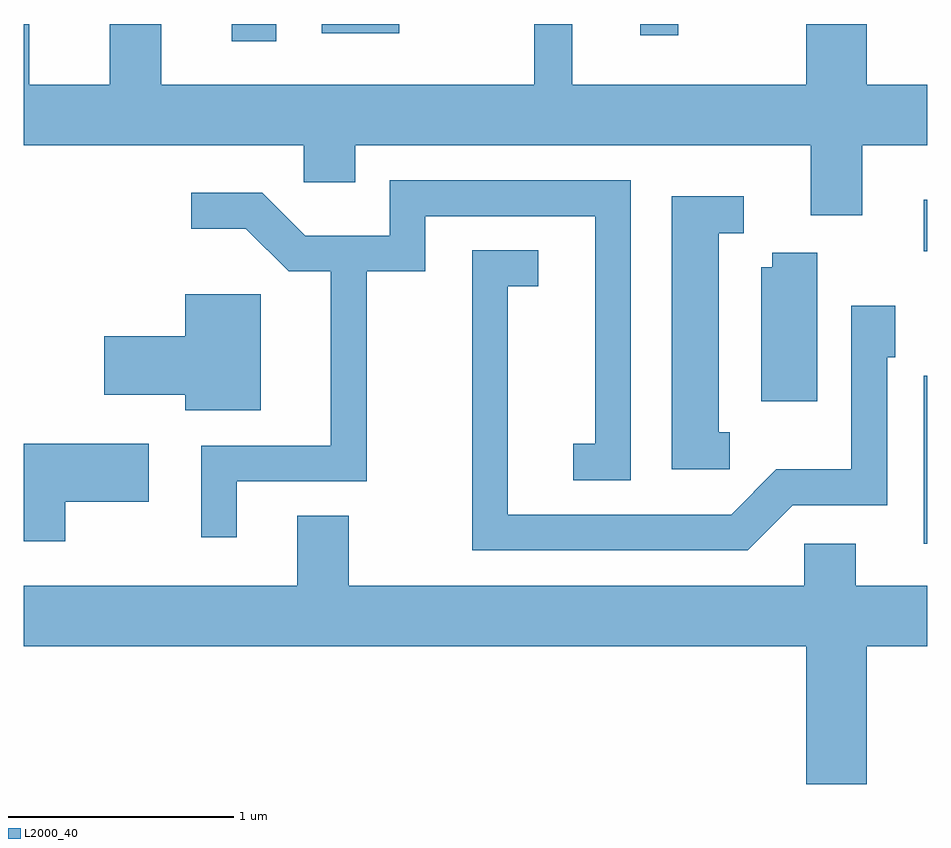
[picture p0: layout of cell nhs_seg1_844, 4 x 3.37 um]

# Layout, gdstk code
import gdstk
lib = gdstk.Library(unit=1e-6, precision=1e-09)
def R(c, l, rs):  # rectangles x0, y0, x1, y1
    for r in rs: c.add(gdstk.rectangle(r[:2], r[2:], *l))
def P(c, l, *ps):  # polygons
    for p in ps: c.add(gdstk.Polygon(p, *l))
L2000_40 = (2000, 40)

nhs_seg1_844 = lib.new_cell('nhs_seg1_844')
R(nhs_seg1_844, L2000_40, [(215.596,853.411,215.611,854.154), (215.596,854.706,215.611,854.934), (212.531,855.636,212.729,855.712), (214.341,855.663,214.509,855.712), (212.931,855.671,213.274,855.712)])
P(nhs_seg1_844, L2000_40, [(215.324,855.176),(215.611,855.176),(215.611,855.444),(215.344,855.444),(215.344,855.712),(215.076,855.712),(215.076,855.444),(214.039,855.444),(214.039,855.712),(213.871,855.712),(213.871,855.444),(212.219,855.444),(212.219,855.712),(211.991,855.712),(211.991,855.444),(211.634,855.444),(211.634,855.712),(211.611,855.712),(211.611,855.176),(212.851,855.176),(212.851,855.011),(213.079,855.011),(213.079,855.176),(215.096,855.176),(215.096,854.866),(215.324,854.866)],
  [(212.554,853.686),(213.129,853.686),(213.129,854.616),(213.389,854.616),(213.389,854.861),(214.141,854.861),(214.141,853.854),(214.043,853.854),(214.043,853.691),(214.299,853.691),(214.299,855.019),(213.231,855.019),(213.231,854.774),(212.857,854.774),(212.667,854.964),(212.353,854.964),(212.353,854.806),(212.594,854.806),(212.784,854.616),(212.971,854.616),(212.971,853.844),(212.396,853.844),(212.396,853.438),(212.554,853.438)],
  [(214.738,853.904),(214.689,853.904),(214.689,854.786),(214.798,854.786),(214.798,854.949),(214.481,854.949),(214.481,853.741),(214.738,853.741)],
  [(215.017,853.581),(215.434,853.581),(215.434,854.236),(215.469,854.236),(215.469,854.464),(215.276,854.464),(215.276,853.739),(214.944,853.739),(214.744,853.539),(213.754,853.539),(213.754,854.551),(213.888,854.551),(213.888,854.709),(213.596,854.709),(213.596,853.381),(214.817,853.381)],
  [(215.124,854.699),(214.926,854.699),(214.926,854.634),(214.876,854.634),(214.876,854.041),(215.124,854.041)],
  [(212.659,854.514),(212.326,854.514),(212.326,854.329),(211.966,854.329),(211.966,854.071),(212.326,854.071),(212.326,854.001),(212.659,854.001)],
  [(211.794,853.596),(212.164,853.596),(212.164,853.854),(211.611,853.854),(211.611,853.421),(211.794,853.421)],
  [(215.344,852.956),(215.611,852.956),(215.611,853.224),(215.294,853.224),(215.294,853.409),(215.066,853.409),(215.066,853.224),(213.049,853.224),(213.049,853.534),(212.821,853.534),(212.821,853.224),(211.611,853.224),(211.611,852.956),(215.076,852.956),(215.076,852.346),(215.344,852.346)])

lib.write_gds('nhs_seg1_844.gds')
